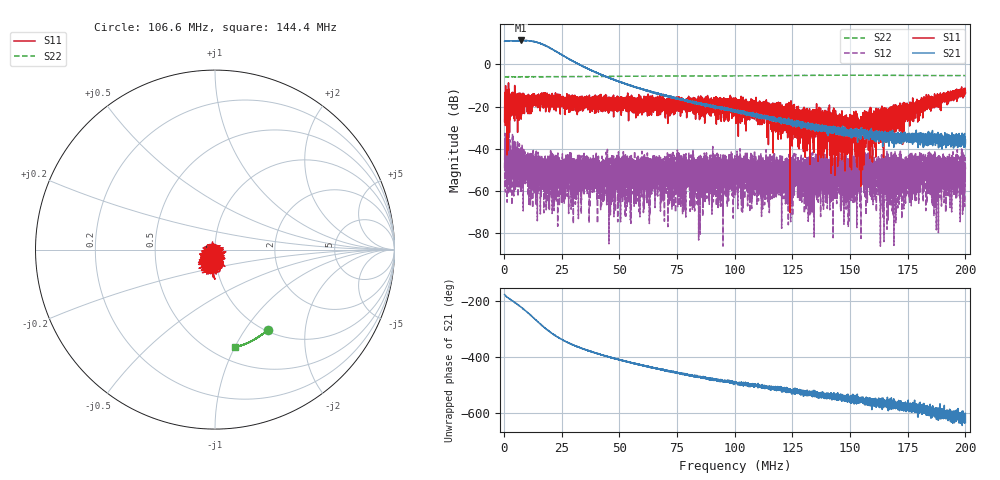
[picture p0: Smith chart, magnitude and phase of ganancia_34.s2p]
# Hz S DB R 50
! CMT, M5065, 19127446, 24.2.4/2
! Date: 11/8/2024 4:04:40 PM
! Data: Format (Calibration Info)
! Freq	S11:dB/Ang(F2)	S21:dB/Ang(F2)	S12:dB/Ang(F2)	S22:dB/Ang(F2)
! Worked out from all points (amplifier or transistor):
!   9000 points, 300 kHz to 200 MHz, reference 50 ohm
!   highest |S21| = 11.4 dB at 7.335 MHz (marker M1)
!   |S21| within 3 dB of that: start of sweep to 18.96 MHz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
!   unconditionally stable (mu >= 1): start of sweep to end of sweep
!   at 33.59 MHz: K = 634.47, MAG = 0.9 dB, |S12| = -64.4 dB
!   at 100.2 MHz: K = 2394.68, MAG = -20.4 dB, |S12| = -54.7 dB
!   at 200 MHz: K = 7776.73, MAG = -35.9 dB, |S12| = -49.7 dB
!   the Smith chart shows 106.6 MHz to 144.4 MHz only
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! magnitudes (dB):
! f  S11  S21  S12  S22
! 300 kHz  -27.1  11.1  -49.3  -5.8
! 1.321 MHz  -16.3  11.1  -47.7  -5.9
! 7.335 MHz  -15.1  11.4  -50.4  -5.8
! 18.83 MHz  -18.1  8.5  -54.3  -5.8
! 27.84 MHz  -18.4  2.8  -52.8  -5.8
! 29.99 MHz  -16.2  1.6  -49.6  -5.8
! 33.59 MHz  -17.7  -0.6  -64.4  -5.7
! 35.58 MHz  -20.3  -1.7  -48.1  -5.7
! 45.88 MHz  -17.5  -6.5  -55.5  -5.6
! 48.1 MHz  -16.6  -7.3  -45.3  -5.6
! 66.87 MHz  -17.9  -13.8  -50.5  -5.5
! 90.09 MHz  -20.3  -20.0  -52.0  -5.4
! 93.53 MHz  -16.0  -20.4  -44.4  -5.4
! 95.99 MHz  -17.7  -21.0  -55.8  -5.4
! 100.2 MHz  -18.5  -22.0  -54.7  -5.4
! 133.4 MHz  -24.3  -31.0  -52.4  -5.2
! 145.4 MHz  -30.7  -31.5  -50.9  -5.1
! 151.7 MHz  -34.6  -32.8  -49.1  -5.1
! 154.4 MHz  -38.5  -31.7  -53.8  -5.1
! 156.8 MHz  -36.2  -33.7  -51.2  -5.1
! 166.7 MHz  -27.2  -33.8  -66.1  -5.1
! 200 MHz  -13.4  -37.6  -49.7  -5.3
